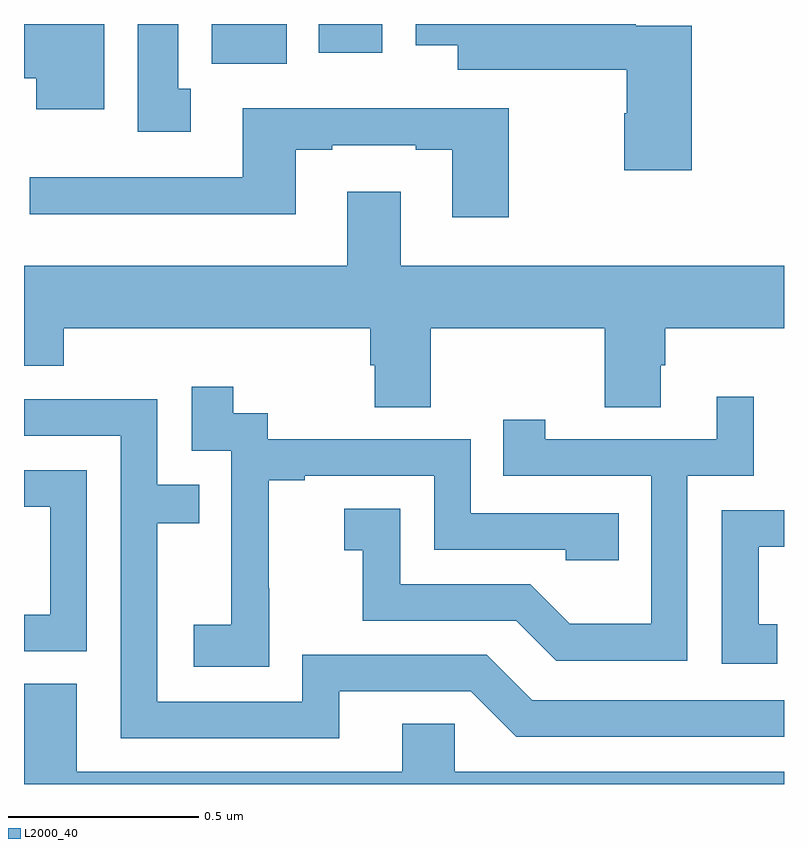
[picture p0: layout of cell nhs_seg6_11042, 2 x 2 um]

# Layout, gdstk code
import gdstk
lib = gdstk.Library(unit=1e-6, precision=1e-09)
def R(c, l, rs):  # rectangles x0, y0, x1, y1
    for r in rs: c.add(gdstk.rectangle(r[:2], r[2:], *l))
def P(c, l, *ps):  # polygons
    for p in ps: c.add(gdstk.Polygon(p, *l))
L2000_40 = (2000, 40)

nhs_seg6_11042 = lib.new_cell('nhs_seg6_11042')
R(nhs_seg6_11042, L2000_40, [(255.494,917.396,255.691,917.5), (255.776,917.424,255.943,917.5)])
P(nhs_seg6_11042, L2000_40, [(255.211,917.5),(255,917.5),(255,917.357),(255.032,917.357),(255.032,917.276),(255.211,917.276)],
  [(255.439,917.33),(255.406,917.33),(255.406,917.5),(255.299,917.5),(255.299,917.217),(255.439,917.217)],
  [(256.757,917.496),(256.61,917.496),(256.61,917.5),(256.031,917.5),(256.031,917.444),(256.142,917.444),(256.142,917.38),(256.586,917.38),(256.586,917.265),(256.579,917.265),(256.579,917.115),(256.757,917.115)],
  [(256.275,917.278),(255.575,917.278),(255.575,917.097),(255.015,917.097),(255.015,917),(255.715,917),(255.715,917.169),(255.811,917.169),(255.811,917.181),(256.031,917.181),(256.031,917.169),(256.127,917.169),(256.127,916.992),(256.275,916.992)],
  [(256.071,916.7),(256.528,916.7),(256.528,916.492),(256.675,916.492),(256.675,916.602),(256.688,916.602),(256.688,916.7),(257,916.7),(257,916.864),(255.991,916.864),(255.991,917.059),(255.851,917.059),(255.851,916.864),(255,916.864),(255,916.601),(255.104,916.601),(255.104,916.7),(255.911,916.7),(255.911,916.602),(255.923,916.602),(255.923,916.492),(256.071,916.492)],
  [(255.645,916.015),(255.644,916.015),(255.644,916.299),(255.739,916.299),(255.739,916.311),(256.08,916.311),(256.08,916.116),(256.425,916.116),(256.425,916.089),(256.565,916.089),(256.565,916.212),(256.176,916.212),(256.176,916.407),(255.642,916.407),(255.642,916.476),(255.55,916.476),(255.55,916.546),(255.441,916.546),(255.441,916.377),(255.546,916.377),(255.546,916.148),(255.545,916.148),(255.545,915.919),(255.447,915.919),(255.447,915.809),(255.645,915.809)],
  [(256.746,916.311),(256.92,916.311),(256.92,916.519),(256.823,916.519),(256.823,916.407),(256.372,916.407),(256.372,916.459),(256.261,916.459),(256.261,916.311),(256.65,916.311),(256.65,915.922),(256.436,915.922),(256.332,916.026),(255.99,916.026),(255.99,916.225),(255.843,916.225),(255.843,916.115),(255.892,916.115),(255.892,915.93),(256.295,915.93),(256.4,915.825),(256.746,915.825)],
  [(255.829,915.744),(256.176,915.744),(256.296,915.624),(257,915.624),(257,915.72),(256.338,915.72),(256.218,915.84),(255.732,915.84),(255.732,915.717),(255.351,915.717),(255.351,916.186),(255.461,916.186),(255.461,916.287),(255.351,916.287),(255.351,916.512),(255,916.512),(255,916.416),(255.255,916.416),(255.255,915.621),(255.829,915.621)],
  [(255.165,916.326),(255,916.326),(255,916.23),(255.069,916.23),(255.069,915.945),(255,915.945),(255,915.849),(255.165,915.849)],
  [(256.982,915.921),(256.933,915.921),(256.933,916.125),(257,916.125),(257,916.221),(256.836,916.221),(256.836,915.816),(256.982,915.816)],
  [(257,915.532),(256.134,915.532),(256.134,915.659),(255.995,915.659),(255.995,915.532),(255.139,915.532),(255.139,915.764),(255,915.764),(255,915.5),(257,915.5)])

lib.write_gds('nhs_seg6_11042.gds')
